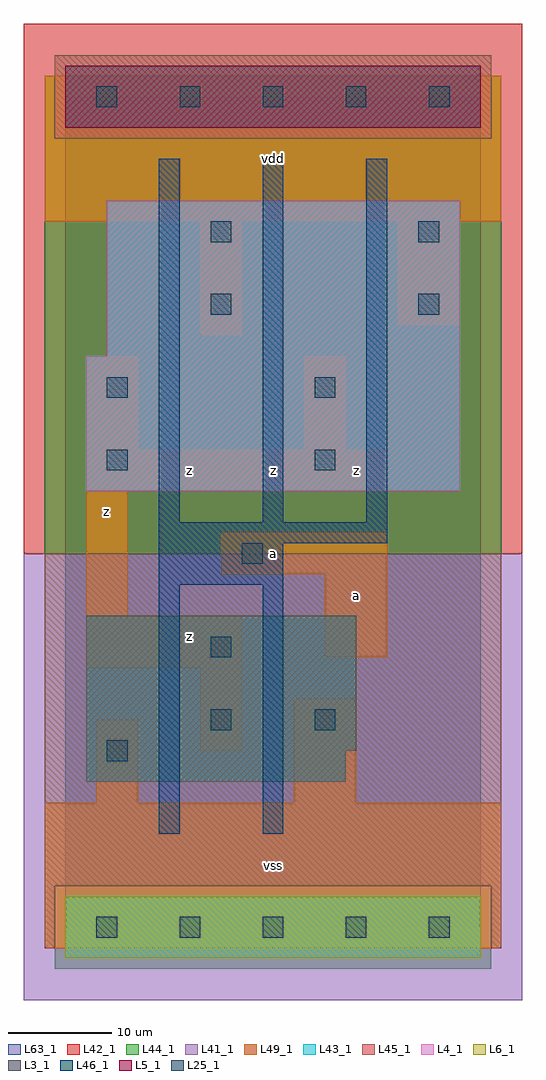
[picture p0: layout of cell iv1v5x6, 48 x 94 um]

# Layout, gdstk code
import gdstk
lib = gdstk.Library(unit=1e-6, precision=1e-09)
def R(c, l, rs):  # rectangles x0, y0, x1, y1
    for r in rs: c.add(gdstk.rectangle(r[:2], r[2:], *l))
def A(c, l, x, y, w, h, nx, ny, dx, dy):  # array of equal rectangles
    R(c, l, [(x+i*dx, y+j*dy, x+i*dx+w, y+j*dy+h) for i in range(nx) for j in range(ny)])
L3_1 = (3, 1)
L4_1 = (4, 1)
L5_1 = (5, 1)
L6_1 = (6, 1)
L25_1 = (25, 1)
L41_1 = (41, 1)
L42_1 = (42, 1)
L43_1 = (43, 1)
L44_1 = (44, 1)
L45_1 = (45, 1)
L46_1 = (46, 1)
L49_1 = (49, 1)
L63_1 = (63, 1)

iv1v5x6 = lib.new_cell('iv1v5x6')
R(iv1v5x6, L3_1, [(2,14,27,17), (2,17,28,30)])
R(iv1v5x6, L4_1, [(2,42,38,55), (4,55,38,70)])
R(iv1v5x6, L5_1, [(0,77,40,83)])
R(iv1v5x6, L6_1, [(0,-3,40,3), (0,-3,40,3)])
A(iv1v5x6, L25_1, 3, -1, 2, 2, 5, 2, 8, 80)
R(iv1v5x6, L25_1, [(4,16,6,18), (14,19,16,21), (24,19,26,21), (14,26,16,28), (17,35,19,37), (4,44,6,46), (24,44,26,46), (4,51,6,53), (24,51,26,53), (14,59,16,61), (34,59,36,61), (14,66,16,68), (34,66,36,68)])
R(iv1v5x6, L41_1, [(-4,-7,44,36)])
R(iv1v5x6, L42_1, [(-4,36,44,87)])
R(iv1v5x6, L43_1, [(0,-3,40,3), (2,14,27,17), (2,17,28,30), (2,42,38,55), (4,55,38,70), (0,77,40,83)])
R(iv1v5x6, L44_1, [(-1,-4,41,4), (-2,36,42,76), (-2,76,-1,82), (41,76,42,82)])
R(iv1v5x6, L45_1, [(-2,-2,-1,4), (41,-2,42,4), (-2,4,42,36), (-1,76,41,84)])
A(iv1v5x6, L46_1, 9, 39, 2, 35, 3, 1, 10, 0)
R(iv1v5x6, L46_1, [(9,9,11,33), (19,9,21,33), (9,33,21,37), (9,37,31,39)])
R(iv1v5x6, L49_1, [(-2,-2,42,12), (3,12,7,20), (22,12,28,22), (13,17,17,25), (2,25,17,30), (25,26,31,34), (2,30,6,42), (15,34,31,38), (2,42,31,46), (2,46,7,55), (23,46,27,55), (13,57,17,68), (32,58,38,68), (-2,68,42,82)])
R(iv1v5x6, L63_1, [(0,0,40,80)])
iv1v5x6.add(gdstk.Label('z', (4,40), layer=49, texttype=1))
iv1v5x6.add(gdstk.Label('z', (12,28), layer=49, texttype=1))
iv1v5x6.add(gdstk.Label('z', (12,44), layer=49, texttype=1))
iv1v5x6.add(gdstk.Label('vss', (20,6), layer=49, texttype=1))
iv1v5x6.add(gdstk.Label('a', (20,36), layer=49, texttype=1))
iv1v5x6.add(gdstk.Label('a', (28,32), layer=49, texttype=1))
iv1v5x6.add(gdstk.Label('z', (28,44), layer=49, texttype=1))
iv1v5x6.add(gdstk.Label('z', (20,44), layer=49, texttype=1))
iv1v5x6.add(gdstk.Label('vdd', (20,74), layer=49, texttype=1))

lib.write_gds('iv1v5x6.gds')
